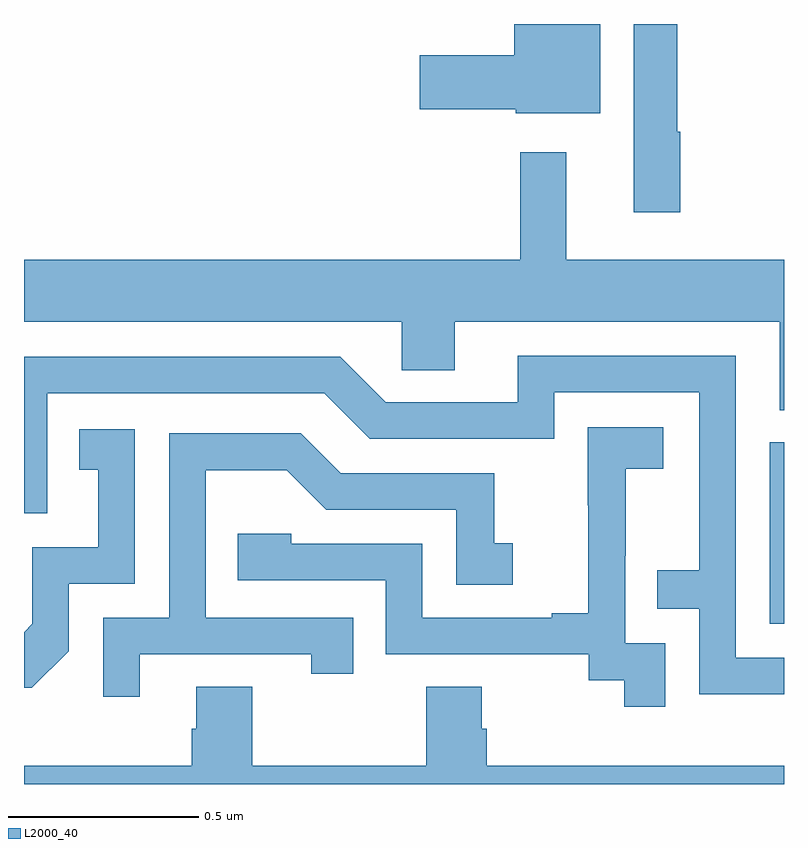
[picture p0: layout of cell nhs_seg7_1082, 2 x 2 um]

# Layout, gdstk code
import gdstk
lib = gdstk.Library(unit=1e-6, precision=1e-09)
def R(c, l, rs):  # rectangles x0, y0, x1, y1
    for r in rs: c.add(gdstk.rectangle(r[:2], r[2:], *l))
def P(c, l, *ps):  # polygons
    for p in ps: c.add(gdstk.Polygon(p, *l))
L2000_40 = (2000, 40)

nhs_seg7_1082 = lib.new_cell('nhs_seg7_1082')
R(nhs_seg7_1082, L2000_40, [(126.963,1066.422,127,1066.899)])
P(nhs_seg7_1082, L2000_40, [(126.517,1068),(126.29,1068),(126.29,1067.918),(126.042,1067.918),(126.042,1067.776),(126.294,1067.776),(126.294,1067.765),(126.517,1067.765)],
  [(126.727,1067.717),(126.719,1067.717),(126.719,1068),(126.605,1068),(126.605,1067.505),(126.727,1067.505)],
  [(127,1067.38),(126.427,1067.38),(126.427,1067.662),(126.306,1067.662),(126.306,1067.38),(125,1067.38),(125,1067.216),(125.994,1067.216),(125.994,1067.089),(126.133,1067.089),(126.133,1067.216),(126.989,1067.216),(126.989,1066.984),(127,1066.984)],
  [(127,1066.332),(126.873,1066.332),(126.873,1067.127),(126.299,1067.127),(126.299,1067.004),(125.952,1067.004),(125.832,1067.124),(125,1067.124),(125,1066.713),(125.061,1066.713),(125.061,1067.028),(125.79,1067.028),(125.91,1066.908),(126.396,1066.908),(126.396,1067.031),(126.777,1067.031),(126.777,1066.562),(126.667,1066.562),(126.667,1066.461),(126.777,1066.461),(126.777,1066.236),(127,1066.236)],
  [(126.687,1066.371),(126.582,1066.371),(126.582,1066.601),(126.584,1066.601),(126.584,1066.829),(126.682,1066.829),(126.682,1066.939),(126.484,1066.939),(126.484,1066.733),(126.485,1066.733),(126.485,1066.45),(126.389,1066.45),(126.389,1066.437),(126.048,1066.437),(126.048,1066.632),(125.703,1066.632),(125.703,1066.659),(125.563,1066.659),(125.563,1066.536),(125.952,1066.536),(125.952,1066.341),(126.486,1066.341),(126.486,1066.273),(126.579,1066.273),(126.579,1066.203),(126.687,1066.203)],
  [(125.118,1066.35),(125.118,1066.527),(125.292,1066.527),(125.292,1066.933),(125.146,1066.933),(125.146,1066.827),(125.195,1066.827),(125.195,1066.623),(125.022,1066.623),(125.022,1066.422),(125,1066.4),(125,1066.253),(125.02,1066.253)],
  [(125.305,1066.341),(125.756,1066.341),(125.756,1066.29),(125.867,1066.29),(125.867,1066.437),(125.478,1066.437),(125.478,1066.826),(125.692,1066.826),(125.796,1066.722),(126.138,1066.722),(126.138,1066.524),(126.286,1066.524),(126.286,1066.633),(126.237,1066.633),(126.237,1066.818),(125.833,1066.818),(125.728,1066.923),(125.382,1066.923),(125.382,1066.437),(125.208,1066.437),(125.208,1066.23),(125.305,1066.23)],
  [(127,1066.048),(126.218,1066.048),(126.218,1066.146),(126.205,1066.146),(126.205,1066.256),(126.058,1066.256),(126.058,1066.048),(125.601,1066.048),(125.601,1066.256),(125.453,1066.256),(125.453,1066.146),(125.441,1066.146),(125.441,1066.048),(125,1066.048),(125,1066),(127,1066)])

lib.write_gds('nhs_seg7_1082.gds')
